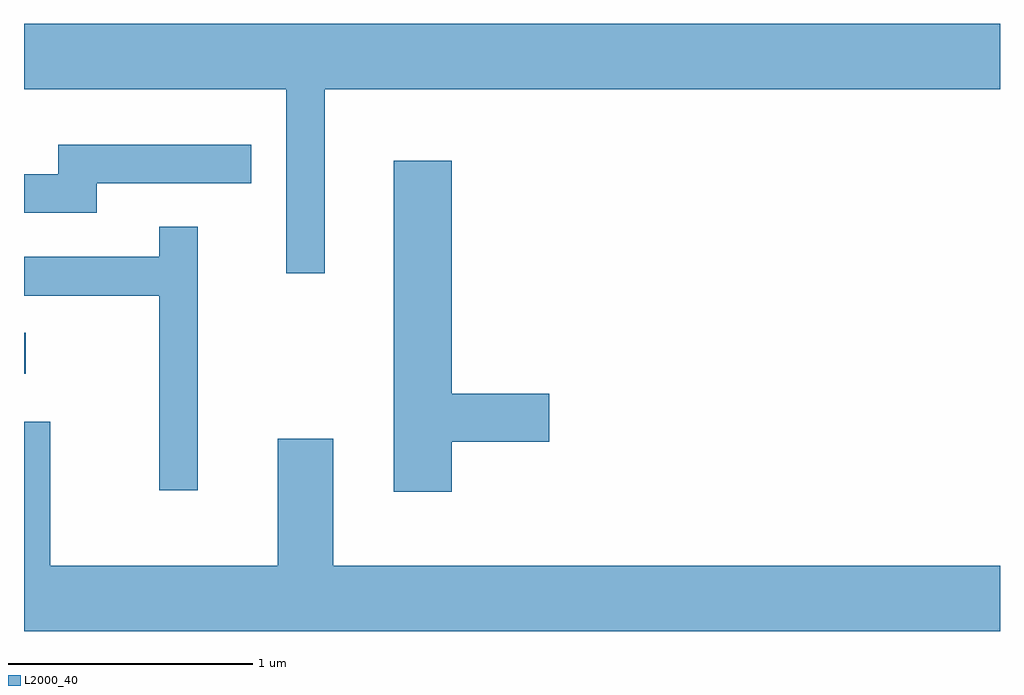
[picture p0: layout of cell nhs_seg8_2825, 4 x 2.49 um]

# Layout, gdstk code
import gdstk
lib = gdstk.Library(unit=1e-6, precision=1e-09)
def R(c, l, rs):  # rectangles x0, y0, x1, y1
    for r in rs: c.add(gdstk.rectangle(r[:2], r[2:], *l))
def P(c, l, *ps):  # polygons
    for p in ps: c.add(gdstk.Polygon(p, *l))
L2000_40 = (2000, 40)

nhs_seg8_2825 = lib.new_cell('nhs_seg8_2825')
R(nhs_seg8_2825, L2000_40, [(269.611,1877.431,269.618,1877.599)])
P(nhs_seg8_2825, L2000_40, [(270.844,1878.596),(273.611,1878.596),(273.611,1878.864),(269.611,1878.864),(269.611,1878.596),(270.686,1878.596),(270.686,1877.843),(270.844,1877.843)],
  [(269.909,1878.211),(270.543,1878.211),(270.543,1878.369),(269.751,1878.369),(269.751,1878.249),(269.611,1878.249),(269.611,1878.091),(269.909,1878.091)],
  [(271.364,1877.151),(271.764,1877.151),(271.764,1877.349),(271.364,1877.349),(271.364,1878.304),(271.126,1878.304),(271.126,1876.946),(271.364,1876.946)],
  [(270.324,1878.033),(270.166,1878.033),(270.166,1877.909),(269.611,1877.909),(269.611,1877.751),(270.166,1877.751),(270.166,1876.953),(270.324,1876.953)],
  [(273.611,1876.644),(270.879,1876.644),(270.879,1877.164),(270.651,1877.164),(270.651,1876.644),(269.719,1876.644),(269.719,1877.234),(269.611,1877.234),(269.611,1876.376),(273.611,1876.376)])

lib.write_gds('nhs_seg8_2825.gds')
